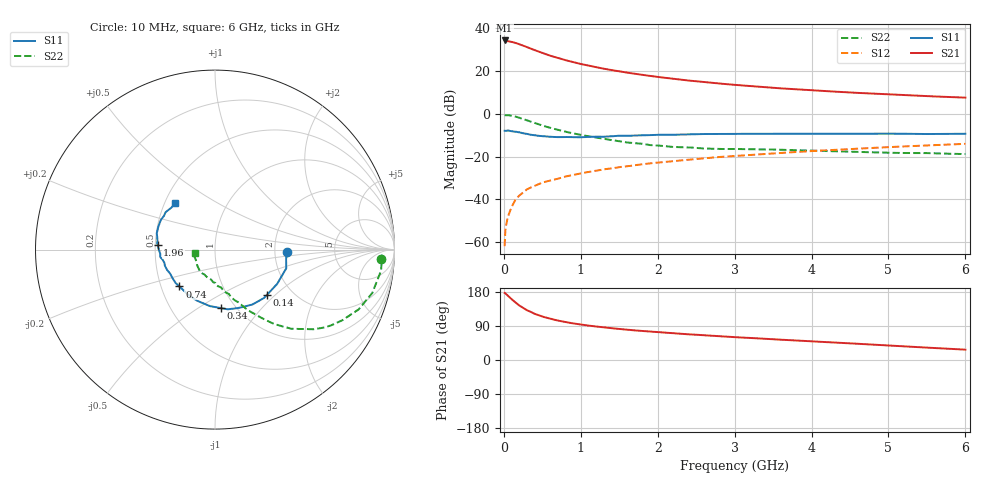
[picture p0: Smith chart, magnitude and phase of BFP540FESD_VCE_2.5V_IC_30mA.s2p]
! Infineon Technologies  Discrete & RF Semiconductors
! BFP540FESD
! VCE =  2.5 V,  IC =  30 mA
! Common Emitter S-Parameters:  Nov 2015
# GHz  S  MA  R  50
!  f  S11  S21  S12  S22
! GHz  MAG  ANG  MAG  ANG  MAG  ANG  MAG  ANG
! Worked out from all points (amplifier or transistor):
!   210 points, 10 MHz to 6 GHz, reference 50 ohm
!   highest |S21| = 34.4 dB at 10 MHz (marker M1)
!   |S21| within 3 dB of that: start of sweep to 292.8 MHz
!   unconditionally stable (mu >= 1): start of sweep to 13.15 MHz; 1.538 GHz to end of sweep
!   at 185 MHz: K = 0.36, MSG = 35.8 dB, |S12| = -38.9 dB
!   at 1.52 GHz: K = 1.00, MSG = 22.3 dB, |S12| = -24.9 dB
!   at 6 GHz: K = 1.16, MAG = 8.4 dB, |S12| = -14.0 dB
!   S11 on the Smith chart (normalised r, x): 10 MHz: 2.35, -0.08; 140 MHz: 1.49, -0.89; 340 MHz: 0.86, -0.62; 740 MHz: 0.62, -0.28; 1.96 GHz: 0.51, +0.03; 6 GHz: 0.57, +0.33
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0.01  0.4032 -2.0  52.22 177.2  0.0008 88.9  0.9246 -3.1
0.02  0.3995 -7.4  50.18 175.9  0.0019 104.6  0.931 -2.0
0.05  0.4104 -14.7  50.44 170.2  0.0037 95.3  0.9327 -7.2
0.1  0.3956 -28.9  48.45 160.6  0.0064 81.4  0.9092 -15.4
0.14  0.384 -41.3  46.5 153.8  0.009 79.1  0.8743 -21.1
0.2  0.3703 -55.6  42.81 144.0  0.0122 75.6  0.8124 -28.9
0.24  0.3548 -64.6  40.19 138.8  0.0139 73.7  0.7707 -33.3
0.3  0.3403 -77.9  36.55 131.4  0.0171 69.6  0.7064 -38.9
0.34  0.3271 -84.5  34.24 128.0  0.0185 68.9  0.6674 -41.5
0.4  0.3162 -95.1  31.03 121.9  0.0206 68.1  0.6119 -46.1
0.5  0.3016 -109.7  26.65 114.5  0.0246 67.3  0.5315 -51.4
0.6  0.2922 -120.8  23.04 108.8  0.0275 66.6  0.4705 -55.1
0.74  0.2855 -134.1  19.42 102.6  0.0318 66.6  0.407 -59.6
0.88  0.2853 -144.9  16.58 97.3  0.0365 66.3  0.3557 -63.3
1.02  0.2847 -152.9  14.44 93.0  0.0412 66.1  0.3175 -66.6
1.4  0.2981 -169.5  10.58 83.9  0.053 64.9  0.2436 -76.5
1.96  0.3213 175.2  7.476 74.1  0.071 62.6  0.1834 -91.6
2.02  0.3239 173.5  7.241 73.1  0.0726 62.2  0.1806 -93.6
3.1  0.3404 157.9  4.621 59.3  0.106 56.2  0.1495 -118.9
4.1  0.3429 150.0  3.474 48.2  0.1376 50.1  0.1363 -134.3
5.1  0.3432 141.5  2.806 37.2  0.1697 42.2  0.122 -149.7
6  0.3416 130.6  2.398 27.3  0.1985 34.7  0.1144 -170.3
